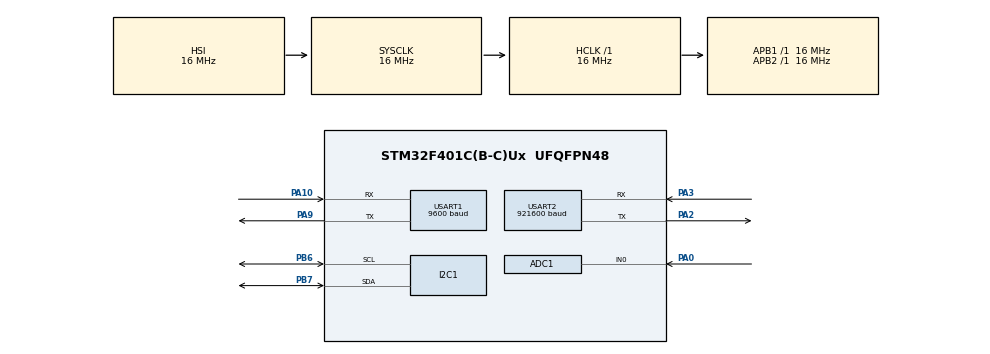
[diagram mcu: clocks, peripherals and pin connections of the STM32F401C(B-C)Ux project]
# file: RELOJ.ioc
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ADC1.Channel-4\#ChannelRegularConversion=ADC_CHANNEL_0
ADC1.DMAContinuousRequests=ENABLE
ADC1.ExternalTrigConv=ADC_EXTERNALTRIGCONV_T3_TRGO
ADC1.NbrOfConversionFlag=1
ADC1.Rank-4\#ChannelRegularConversion=1
ADC1.SamplingTime-4\#ChannelRegularConversion=ADC_SAMPLETIME_84CYCLES
ADC1.master=1
Dma.ADC1.0.Direction=DMA_PERIPH_TO_MEMORY
Dma.ADC1.0.FIFOMode=DMA_FIFOMODE_DISABLE
Dma.ADC1.0.Instance=DMA2_Stream0
Dma.ADC1.0.MemDataAlignment=DMA_MDATAALIGN_HALFWORD
Dma.ADC1.0.MemInc=DMA_MINC_ENABLE
Dma.ADC1.0.Mode=DMA_CIRCULAR
Dma.ADC1.0.PeriphDataAlignment=DMA_PDATAALIGN_HALFWORD
Dma.ADC1.0.PeriphInc=DMA_PINC_DISABLE
Dma.ADC1.0.Priority=DMA_PRIORITY_LOW
Dma.Request0=ADC1
Dma.Request1=USART2_TX
Dma.USART2_TX.1.Direction=DMA_MEMORY_TO_PERIPH
Dma.USART2_TX.1.FIFOMode=DMA_FIFOMODE_DISABLE
Dma.USART2_TX.1.Instance=DMA1_Stream6
Dma.USART2_TX.1.MemDataAlignment=DMA_MDATAALIGN_BYTE
Dma.USART2_TX.1.MemInc=DMA_MINC_ENABLE
Dma.USART2_TX.1.Mode=DMA_NORMAL
Dma.USART2_TX.1.PeriphDataAlignment=DMA_PDATAALIGN_BYTE
Dma.USART2_TX.1.PeriphInc=DMA_PINC_DISABLE
Dma.USART2_TX.1.Priority=DMA_PRIORITY_LOW
Mcu.Family=STM32F4
Mcu.Name=STM32F401C(B-C)Ux
Mcu.Package=UFQFPN48
NVIC.DMA1_Stream6_IRQn=true\:0\:0\:false\:false\:true\:false\:true\:true
NVIC.DMA2_Stream0_IRQn=true\:0\:0\:false\:false\:true\:false\:true\:true
NVIC.PriorityGroup=NVIC_PRIORITYGROUP_4
NVIC.TIM3_IRQn=true\:0\:0\:false\:false\:true\:true\:true\:true
PA0-WKUP.Signal=ADCx_IN0
PA10.Mode=Asynchronous
PA10.Signal=USART1_RX
PA2.Mode=Asynchronous
PA2.Signal=USART2_TX
PA3.Mode=Asynchronous
PA3.Signal=USART2_RX
PA9.Mode=Asynchronous
PA9.Signal=USART1_TX
PB6.Mode=I2C
PB6.Signal=I2C1_SCL
PB7.Mode=I2C
PB7.Signal=I2C1_SDA
ProjectManager.HeapSize=0x200
ProjectManager.StackSize=0x400
ProjectManager.TargetToolchain=CMake
RCC.AHBFreq_Value=16000000
RCC.APB1Freq_Value=16000000
RCC.APB2Freq_Value=16000000
RCC.CortexFreq_Value=16000000
RCC.HSE_VALUE=25000000
RCC.HSI_VALUE=16000000
RCC.LSE_VALUE=32768
RCC.SYSCLKFreq_VALUE=16000000
RCC.VCOOutputFreq_Value=192000000
SH.ADCx_IN0.0=ADC1_IN0,IN0
TIM3.Period=99
TIM3.Prescaler=15
TIM3.TIM_MasterOutputTrigger=TIM_TRGO_UPDATE
USART1.BaudRate=9600
USART1.VirtualMode=VM_ASYNC
USART2.BaudRate=921600
USART2.VirtualMode=VM_ASYNC
VP_TIM3_VS_ClockSourceINT.Mode=Internal
board=custom

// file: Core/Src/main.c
/* USER CODE BEGIN Header */
/**
  ******************************************************************************
  * @file           : main.c
  * @brief          : Main program body
  ******************************************************************************
  * @attention
  *
  * Copyright (c) 2026 STMicroelectronics.
  * All rights reserved.
  *
  * This software is licensed under terms that can be found in the LICENSE file
  * in the root directory of this software component.
  * If no LICENSE file comes with this software, it is provided AS-IS.
  *
  ******************************************************************************
  */
/* USER CODE END Header */
#include "main.h"

/* USER CODE BEGIN Includes */

#include "stdio.h"
#include "string.h"
#include "stdlib.h"
#include "math.h"
#include "uart.h"
#include "MPU6050.h"
#include "dsp_effects.h"

/* USER CODE END Includes */

/* USER CODE BEGIN PD */
#define STREAM_PACKET_SIZE 529U
#define STREAM_ADC_OFFSET 5U
#define STREAM_SENSOR_OFFSET 517U
#define STREAM_CRC_OFFSET 527U

/* USER CODE END PD */

ADC_HandleTypeDef hadc1;
DMA_HandleTypeDef hdma_adc1;

I2C_HandleTypeDef hi2c1;

TIM_HandleTypeDef htim3;

UART_HandleTypeDef huart1;
UART_HandleTypeDef huart2;
DMA_HandleTypeDef hdma_usart2_tx;

/* USER CODE BEGIN PV */
// Buffer circular de 512 muestras de guitarra para DMA (256 mitad 1 + 256 mitad 2)
uint16_t adc_buf[512];
static uint8_t stream_packet[2][STREAM_PACKET_SIZE];
static uint16_t stream_sequence = 0;
volatile uint32_t adc_half_events = 0;
volatile uint32_t adc_full_events = 0;
volatile uint32_t uart2_dma_start_errors = 0;

// Inclinación medida con la MPU6050 (grados)
float inclinacion_roll;   // Inclinación lateral (eje X)
float inclinacion_pitch;  // Inclinación frontal (eje Y)

// 1 si la MPU6050 respondió y quedó inicializada
uint8_t mpu_ok = 0;
// Dirección I2C detectada (0x68 si AD0 = GND, 0x69 si AD0 = VCC); 0 = no encontrada
uint8_t mpu_addr = 0;
char buf[64];
uint8_t rx_cmd_byte = 0;

/* USER CODE END PV */

void SystemClock_Config(void);
static void MX_GPIO_Init(void);
static void MX_DMA_Init(void);
static void MX_USART1_UART_Init(void);
static void MX_ADC1_Init(void);
static void MX_I2C1_Init(void);
static void MX_TIM3_Init(void);
static void MX_USART2_UART_Init(void);

static uint8_t last_scanned_addr = 0;
static uint16_t last_i2c_status = 0;

static void MPU6050_ResetBus(void)
{
  __HAL_RCC_I2C1_FORCE_RESET();
  for (volatile int d = 0; d < 1000; d++);
  __HAL_RCC_I2C1_RELEASE_RESET();

  // Configurar PB6 (SCL) como salida OD con pullup y PB7 (SDA) como entrada con pullup
  GPIO_InitTypeDef GPIO_InitStruct = {0};
  GPIO_InitStruct.Pin = GPIO_PIN_6;
  GPIO_InitStruct.Mode = GPIO_MODE_OUTPUT_OD;
  GPIO_InitStruct.Pull = GPIO_PULLUP;
  GPIO_InitStruct.Speed = GPIO_SPEED_FREQ_HIGH;
  HAL_GPIO_Init(GPIOB, &GPIO_InitStruct);

  GPIO_InitStruct.Pin = GPIO_PIN_7;
  GPIO_InitStruct.Mode = GPIO_MODE_INPUT;
  GPIO_InitStruct.Pull = GPIO_PULLUP;
  HAL_GPIO_Init(GPIOB, &GPIO_InitStruct);

  // Generar 16 pulsos en SCL para destrabar el sensor si quedó colgado enviando un bit 0
  for (int i = 0; i < 16; i++) {
    HAL_GPIO_WritePin(GPIOB, GPIO_PIN_6, GPIO_PIN_RESET);
    for (volatile int d = 0; d < 500; d++);
    HAL_GPIO_WritePin(GPIOB, GPIO_PIN_6, GPIO_PIN_SET);
    for (volatile int d = 0; d < 500; d++);
  }

  // Restaurar pines a modo alterno I2C1
  GPIO_InitStruct.Pin = GPIO_PIN_6 | GPIO_PIN_7;
  GPIO_InitStruct.Mode = GPIO_MODE_AF_OD;
  GPIO_InitStruct.Pull = GPIO_PULLUP;
  GPIO_InitStruct.Speed = GPIO_SPEED_FREQ_VERY_HIGH;
  GPIO_InitStruct.Alternate = GPIO_AF4_I2C1;
  HAL_GPIO_Init(GPIOB, &GPIO_InitStruct);

  HAL_I2C_Init(&hi2c1);
}

// Busca la MPU6050 en el bus I2C (0x68 o 0x69). Devuelve la dirección de 7 bits o 0.
static uint8_t MPU6050_Buscar(void)
{
  HAL_StatusTypeDef st = HAL_I2C_IsDeviceReady(&hi2c1, 0x68 << 1, 1, 2);
  last_i2c_status = (uint16_t)st;
  if (st == HAL_OK) return 0x68;

  st = HAL_I2C_IsDeviceReady(&hi2c1, 0x69 << 1, 1, 2);
  last_i2c_status = (uint16_t)st;
  if (st == HAL_OK) return 0x69;

  return 0;
}

static void Stream_PutInt16(uint8_t *dest, float value, float scale)
{
  int32_t scaled = 0;
  if (isfinite(value)) {
    float scaled_value = value * scale;
    if (scaled_value > 32767.0f) scaled_value = 32767.0f;
    if (scaled_value < -32768.0f) scaled_value = -32768.0f;
    scaled = (int32_t)lroundf(scaled_value);
  }

  dest[0] = (uint8_t)(scaled & 0xFF);
  dest[1] = (uint8_t)((uint32_t)scaled >> 8);
}

static uint16_t Stream_Crc16(const uint8_t *data, uint16_t length)
{
  uint16_t crc = 0xFFFFU;
  for (uint16_t i = 0; i < length; i++) {
    crc ^= (uint16_t)data[i] << 8;
    for (uint8_t bit = 0; bit < 8; bit++) {
      crc = (crc & 0x8000U) ? (uint16_t)((crc << 1) ^ 0x1021U)
                            : (uint16_t)(crc << 1);
    }
  }
  return crc;
}

static void Stream_PreparePacket(uint8_t *packet, const uint16_t *samples)
{
  packet[0] = 0xA5U;
  packet[1] = 0x5AU;
  packet[2] = (uint8_t)(stream_sequence & 0xFFU);
  packet[3] = (uint8_t)(stream_sequence >> 8);
  stream_sequence++;
  // Byte 4: Bit 0 = MPU OK, Bits 4..7 = Efecto activo (0: Clean, 1: Overdrive, 2: Distortion, 3: Tremolo)
  packet[4] = (mpu_ok ? 1U : 0U) | ((uint8_t)(dsp_engine.active_effect & 0x0FU) << 4);
  memcpy(&packet[STREAM_ADC_OFFSET], samples, 512U);

  if (mpu_ok) {
    Stream_PutInt16(&packet[STREAM_SENSOR_OFFSET], inclinacion_roll, 100.0f);
    Stream_PutInt16(&packet[STREAM_SENSOR_OFFSET + 2U], inclinacion_pitch, 100.0f);
    Stream_PutInt16(&packet[STREAM_SENSOR_OFFSET + 4U], MPU6050.ace_x_f, 1000.0f);
    Stream_PutInt16(&packet[STREAM_SENSOR_OFFSET + 6U], MPU6050.ace_y_f, 1000.0f);
    Stream_PutInt16(&packet[STREAM_SENSOR_OFFSET + 8U], MPU6050.ace_z_f, 1000.0f);
  } else {
    packet[STREAM_SENSOR_OFFSET]     = (uint8_t)(last_i2c_status & 0xFF);
    packet[STREAM_SENSOR_OFFSET + 1] = (uint8_t)(last_i2c_status >> 8);
    packet[STREAM_SENSOR_OFFSET + 2] = (uint8_t)(hi2c1.ErrorCode & 0xFF);
    packet[STREAM_SENSOR_OFFSET + 3] = (uint8_t)(hi2c1.ErrorCode >> 8);
    packet[STREAM_SENSOR_OFFSET + 4] = (uint8_t)hi2c1.State;
    packet[STREAM_SENSOR_OFFSET + 5] = (uint8_t)last_scanned_addr;
    packet[STREAM_SENSOR_OFFSET + 6] = (uint8_t)((GPIOB->IDR >> 6) & 0x03);
    packet[STREAM_SENSOR_OFFSET + 7] = 0;
    packet[STREAM_SENSOR_OFFSET + 8] = 0;
    packet[STREAM_SENSOR_OFFSET + 9] = 0;
  }

  uint16_t crc = Stream_Crc16(&packet[2], STREAM_CRC_OFFSET - 2U);
  packet[STREAM_CRC_OFFSET] = (uint8_t)(crc & 0xFFU);
  packet[STREAM_CRC_OFFSET + 1U] = (uint8_t)(crc >> 8);
}

/* USER CODE END 0 */

int main(void)
{

  /* MCU Configuration--------------------------------------------------------*/

  /* Reset of all peripherals, Initializes the Flash interface and the Systick. */
  HAL_Init();

  /* Configure the system clock */
  SystemClock_Config();

  /* Initialize all configured peripherals */
  MX_GPIO_Init();
  MX_DMA_Init();
  MX_USART1_UART_Init();
  MX_ADC1_Init();
  MX_I2C1_Init();
  MX_TIM3_Init();
  MX_USART2_UART_Init();
  /* USER CODE BEGIN 2 */
  char buffer[128];
  uint32_t ultimo_diag = HAL_GetTick();

  // La MPU6050 necesita ~100 ms tras energizarse antes de aceptar comandos
  HAL_Delay(100);

  // Diagnóstico: ¿responde algo en el bus I2C?
  mpu_addr = MPU6050_Buscar();
  if (mpu_addr == 0) {
    MPU6050_ResetBus();
    mpu_addr = MPU6050_Buscar();
  }
  if (mpu_addr == 0) {
    uartx_write_text(&huart1, "ERROR: MPU6050 no responde en I2C (0x68/0x69). Revisar SDA/SCL, VCC, GND y pull-ups.\r\n");
  } else {
    sprintf(buffer, "MPU6050 detectada en 0x%02X\r\n", mpu_addr);
    uartx_write_text(&huart1, buffer);
  }

  // Inicializar MPU6050
  if (mpu_addr != 0 && MPU6050_init() == 1) {
    MPU6050_Calibra();            // Calibración inicial en reposo (no mover el sensor)
    Kalman_Init(&kalman_roll_);   // Inicializar filtro de Roll
    Kalman_Init(&kalman_pitch_);  // Inicializar filtro de Pitch
    mpu_ok = 1;
  } else {
    uartx_write_text(&huart1, "ERROR: MPU6050_init() fallo. Roll/Pitch se mostraran en 0.\r\n");
  }

  // Inicializar motor DSP de efectos
  DSP_Init();

  // Habilitar recepcion no bloqueante por interrupcion en UART2 para comandos Wi-Fi
  HAL_UART_Receive_IT(&huart2, &rx_cmd_byte, 1);

  // Armar el ADC y DMA antes de habilitar el disparo periódico de TIM3.
  if (HAL_ADC_Start_DMA(&hadc1, (uint32_t*)adc_buf, 512) != HAL_OK) {
    uartx_write_text(&huart1, "ERROR: no se pudo iniciar ADC1 con DMA.\r\n");
  } else if (HAL_TIM_Base_Start(&htim3) != HAL_OK) {
    uartx_write_text(&huart1, "ERROR: no se pudo iniciar TIM3 para el ADC.\r\n");
  }
  /* USER CODE END 2 */

  /* Infinite loop */
  /* USER CODE BEGIN WHILE */
  while (1)
  {
    if (mpu_ok) {
      TIMER_PROCEDIMIENTOS(); // Lee registros I2C y calcula inclinación

      // Si el filtro se corrompe (NaN/inf), se reinicia en vez de arrastrar el NaN para siempre
      if (!isfinite(kalman_roll) || !isfinite(kalman_pitch)) {
        Kalman_Init(&kalman_roll_);
        Kalman_Init(&kalman_pitch_);
      }

      // Toma el ángulo filtrado si es válido; si no, el directo del acelerómetro
      inclinacion_roll  = isfinite(kalman_roll)  ? kalman_roll  : acel_roll;
      inclinacion_pitch = isfinite(kalman_pitch) ? kalman_pitch : acel_pitch;

      if (!isfinite(inclinacion_roll))  inclinacion_roll  = 0.0f;
      if (!isfinite(inclinacion_pitch)) inclinacion_pitch = 0.0f;

      // Modula los parámetros del efecto activo según la inclinación de la guitarra
      DSP_UpdateFromMPU(inclinacion_roll, inclinacion_pitch);
    } else {
      inclinacion_roll  = 0.0f;
      inclinacion_pitch = 0.0f;
      DSP_UpdateFromMPU(0.0f, 0.0f);

      // Reintento automático para detectar la MPU si se energizó o conectó después
      static uint32_t ultimo_mpu_retry = 0;
      if (HAL_GetTick() - ultimo_mpu_retry >= 1000) {
        ultimo_mpu_retry = HAL_GetTick();
        MPU6050_ResetBus();
        mpu_addr = MPU6050_Buscar();
        if (mpu_addr != 0 && MPU6050_init() == 1) {
          MPU6050_Calibra();
          Kalman_Init(&kalman_roll_);
          Kalman_Init(&kalman_pitch_);
          mpu_ok = 1;
        }
      }
    }

    // Lectura DIRECTA por registros hardware de USART2
    if (__HAL_UART_GET_FLAG(&huart2, UART_FLAG_RXNE)) {
      uint8_t c = (uint8_t)(USART2->DR & 0xFF);
      if (c == 'C' || c == '0') DSP_SetEffect(EFFECT_CLEAN);
      else if (c == 'O' || c == '1') DSP_SetEffect(EFFECT_OVERDRIVE);
      else if (c == 'D' || c == '2') DSP_SetEffect(EFFECT_DISTORTION);
      else if (c == 'T' || c == '3') DSP_SetEffect(EFFECT_TREMOLO);
    }
    if (__HAL_UART_GET_FLAG(&huart2, UART_FLAG_ORE)) {
      __HAL_UART_CLEAR_OREFLAG(&huart2);
    }

    // Fila de estado para la consola (solo 1 vez por segundo en diagnostico para no frenar la CPU)
    if (HAL_GetTick() - ultimo_diag >= 1000) {
      int len = snprintf(buffer, sizeof(buffer),
          "ADC H:%lu F:%lu TXerr:%lu U2:%u\r\n",
          (unsigned long)adc_half_events,
          (unsigned long)adc_full_events,
          (unsigned long)uart2_dma_start_errors,
          (unsigned int)HAL_UART_GetState(&huart2));
      HAL_UART_Transmit(&huart1, (uint8_t *)buffer, len, HAL_MAX_DELAY);
      ultimo_diag = HAL_GetTick();
    }

    HAL_Delay(10); // 100 Hz de refresco para el MPU-6050 (reacción instantánea en tiempo real)

    /* USER CODE END WHILE */

  }
}

void SystemClock_Config(void)
{
  RCC_OscInitTypeDef RCC_OscInitStruct = {0};
  RCC_ClkInitTypeDef RCC_ClkInitStruct = {0};

  /** Configure the main internal regulator output voltage
  */
  __HAL_RCC_PWR_CLK_ENABLE();
  __HAL_PWR_VOLTAGESCALING_CONFIG(PWR_REGULATOR_VOLTAGE_SCALE2);

  /** Initializes the RCC Oscillators according to the specified parameters
  * in the RCC_OscInitTypeDef structure.
  */
  RCC_OscInitStruct.OscillatorType = RCC_OSCILLATORTYPE_HSI;
  RCC_OscInitStruct.HSIState = RCC_HSI_ON;
  RCC_OscInitStruct.HSICalibrationValue = RCC_HSICALIBRATION_DEFAULT;
  RCC_OscInitStruct.PLL.PLLState = RCC_PLL_NONE;
  if (HAL_RCC_OscConfig(&RCC_OscInitStruct) != HAL_OK)
  {
    Error_Handler();
  }

  /** Initializes the CPU, AHB and APB buses clocks
  */
  RCC_ClkInitStruct.ClockType = RCC_CLOCKTYPE_HCLK|RCC_CLOCKTYPE_SYSCLK
                              |RCC_CLOCKTYPE_PCLK1|RCC_CLOCKTYPE_PCLK2;
  RCC_ClkInitStruct.SYSCLKSource = RCC_SYSCLKSOURCE_HSI;
  RCC_ClkInitStruct.AHBCLKDivider = RCC_SYSCLK_DIV1;
  RCC_ClkInitStruct.APB1CLKDivider = RCC_HCLK_DIV1;
  RCC_ClkInitStruct.APB2CLKDivider = RCC_HCLK_DIV1;

  if (HAL_RCC_ClockConfig(&RCC_ClkInitStruct, FLASH_LATENCY_0) != HAL_OK)
  {
    Error_Handler();
  }
}

static void MX_ADC1_Init(void)
{

  ADC_ChannelConfTypeDef sConfig = {0};

  /** Configure the global features of the ADC (Clock, Resolution, Data Alignment and number of conversion)
  */
  hadc1.Instance = ADC1;
  hadc1.Init.ClockPrescaler = ADC_CLOCK_SYNC_PCLK_DIV2;
  hadc1.Init.Resolution = ADC_RESOLUTION_12B;
  hadc1.Init.ScanConvMode = DISABLE;
  hadc1.Init.ContinuousConvMode = DISABLE;
  hadc1.Init.DiscontinuousConvMode = DISABLE;
  hadc1.Init.ExternalTrigConvEdge = ADC_EXTERNALTRIGCONVEDGE_RISING;
  hadc1.Init.ExternalTrigConv = ADC_EXTERNALTRIGCONV_T3_TRGO;
  hadc1.Init.DataAlign = ADC_DATAALIGN_RIGHT;
  hadc1.Init.NbrOfConversion = 1;
  hadc1.Init.DMAContinuousRequests = ENABLE;
  hadc1.Init.EOCSelection = ADC_EOC_SINGLE_CONV;
  if (HAL_ADC_Init(&hadc1) != HAL_OK)
  {
    Error_Handler();
  }

  /** Configure for the selected ADC regular channel its corresponding rank in the sequencer and its sample time.
  */
  sConfig.Channel = ADC_CHANNEL_0;
  sConfig.Rank = 1;
  sConfig.SamplingTime = ADC_SAMPLETIME_84CYCLES;
  if (HAL_ADC_ConfigChannel(&hadc1, &sConfig) != HAL_OK)
  {
    Error_Handler();
  }

}

static void MX_I2C1_Init(void)
{

  hi2c1.Instance = I2C1;
  hi2c1.Init.ClockSpeed = 100000;
  hi2c1.Init.DutyCycle = I2C_DUTYCYCLE_2;
  hi2c1.Init.OwnAddress1 = 0;
  hi2c1.Init.AddressingMode = I2C_ADDRESSINGMODE_7BIT;
  hi2c1.Init.DualAddressMode = I2C_DUALADDRESS_DISABLE;
  hi2c1.Init.OwnAddress2 = 0;
  hi2c1.Init.GeneralCallMode = I2C_GENERALCALL_DISABLE;
  hi2c1.Init.NoStretchMode = I2C_NOSTRETCH_DISABLE;
  if (HAL_I2C_Init(&hi2c1) != HAL_OK)
  {
    Error_Handler();
  }

}

static void MX_TIM3_Init(void)
{

  TIM_ClockConfigTypeDef sClockSourceConfig = {0};
  TIM_MasterConfigTypeDef sMasterConfig = {0};

  htim3.Instance = TIM3;
  htim3.Init.Prescaler = 15;
  htim3.Init.CounterMode = TIM_COUNTERMODE_UP;
  htim3.Init.Period = 99;
  htim3.Init.ClockDivision = TIM_CLOCKDIVISION_DIV1;
  htim3.Init.AutoReloadPreload = TIM_AUTORELOAD_PRELOAD_DISABLE;
  if (HAL_TIM_Base_Init(&htim3) != HAL_OK)
  {
    Error_Handler();
  }
  sClockSourceConfig.ClockSource = TIM_CLOCKSOURCE_INTERNAL;
  if (HAL_TIM_ConfigClockSource(&htim3, &sClockSourceConfig) != HAL_OK)
  {
    Error_Handler();
  }
  sMasterConfig.MasterOutputTrigger = TIM_TRGO_UPDATE;
  sMasterConfig.MasterSlaveMode = TIM_MASTERSLAVEMODE_DISABLE;
  if (HAL_TIMEx_MasterConfigSynchronization(&htim3, &sMasterConfig) != HAL_OK)
  {
    Error_Handler();
  }

}

static void MX_USART1_UART_Init(void)
{

  huart1.Instance = USART1;
  huart1.Init.BaudRate = 9600;
  huart1.Init.WordLength = UART_WORDLENGTH_8B;
  huart1.Init.StopBits = UART_STOPBITS_1;
  huart1.Init.Parity = UART_PARITY_NONE;
  huart1.Init.Mode = UART_MODE_TX_RX;
  huart1.Init.HwFlowCtl = UART_HWCONTROL_NONE;
  huart1.Init.OverSampling = UART_OVERSAMPLING_16;
  if (HAL_UART_Init(&huart1) != HAL_OK)
  {
    Error_Handler();
  }

}

static void MX_USART2_UART_Init(void)
{

  huart2.Instance = USART2;
  huart2.Init.BaudRate = 460800;
  huart2.Init.WordLength = UART_WORDLENGTH_8B;
  huart2.Init.StopBits = UART_STOPBITS_1;
  huart2.Init.Parity = UART_PARITY_NONE;
  huart2.Init.Mode = UART_MODE_TX_RX;
  huart2.Init.HwFlowCtl = UART_HWCONTROL_NONE;
  huart2.Init.OverSampling = UART_OVERSAMPLING_16;
  if (HAL_UART_Init(&huart2) != HAL_OK)
  {
    Error_Handler();
  }

}

static void MX_DMA_Init(void)
{

  /* DMA controller clock enable */
  __HAL_RCC_DMA2_CLK_ENABLE();
  __HAL_RCC_DMA1_CLK_ENABLE();

  /* DMA interrupt init */
  /* DMA1_Stream6_IRQn interrupt configuration */
  HAL_NVIC_SetPriority(DMA1_Stream6_IRQn, 0, 0);
  HAL_NVIC_EnableIRQ(DMA1_Stream6_IRQn);
  /* DMA2_Stream0_IRQn interrupt configuration */
  HAL_NVIC_SetPriority(DMA2_Stream0_IRQn, 0, 0);
  HAL_NVIC_EnableIRQ(DMA2_Stream0_IRQn);

}

static void MX_GPIO_Init(void)
{

  /* GPIO Ports Clock Enable */
  __HAL_RCC_GPIOA_CLK_ENABLE();
  __HAL_RCC_GPIOB_CLK_ENABLE();

}

/* USER CODE BEGIN 4 */
// Callbacks para streaming continuo de guitarra por DMA a USART2
// Se transmite 1 de cada 4 paquetes (~10 paquetes/segundo) para que el módulo Wi-Fi DT-06
// no sature su buffer TCP y la señal llegue 100% fluida y estable.
static uint8_t wifi_decimate = 0;
static uint16_t dsp_out_buf[256];

void HAL_ADC_ConvHalfCpltCallback(ADC_HandleTypeDef *hadc)
{
  if (hadc->Instance == ADC1)
  {
    adc_half_events++;
    wifi_decimate++;
    if (wifi_decimate >= 4)
    {
      wifi_decimate = 0;
      // Aplica el efecto DSP en tiempo real sobre las 256 muestras
      DSP_ProcessBlock(&adc_buf[0], dsp_out_buf, 256);
      Stream_PreparePacket(stream_packet[0], dsp_out_buf);
      if (HAL_UART_Transmit_DMA(&huart2, stream_packet[0], STREAM_PACKET_SIZE) != HAL_OK) {
        uart2_dma_start_errors++;
      }
    }
  }
}

void HAL_ADC_ConvCpltCallback(ADC_HandleTypeDef *hadc)
{
  if (hadc->Instance == ADC1)
  {
    adc_full_events++;
  }
}

// Callback de interrupción de UART2: se ejecuta al instante cuando llega un comando Wi-Fi
void HAL_UART_RxCpltCallback(UART_HandleTypeDef *huart)
{
  if (huart->Instance == USART2)
  {
    if (rx_cmd_byte == 'C' || rx_cmd_byte == '0') DSP_SetEffect(EFFECT_CLEAN);
    else if (rx_cmd_byte == 'O' || rx_cmd_byte == '1') DSP_SetEffect(EFFECT_OVERDRIVE);
    else if (rx_cmd_byte == 'D' || rx_cmd_byte == '2') DSP_SetEffect(EFFECT_DISTORTION);
    else if (rx_cmd_byte == 'T' || rx_cmd_byte == '3') DSP_SetEffect(EFFECT_TREMOLO);

    // Re-armar para el siguiente byte
    HAL_UART_Receive_IT(&huart2, &rx_cmd_byte, 1);
  }
}

// Recuperar el receptor si ocurre un error de Overrun (ORE) o ruido
void HAL_UART_ErrorCallback(UART_HandleTypeDef *huart)
{
  if (huart->Instance == USART2)
  {
    __HAL_UART_CLEAR_OREFLAG(huart);
    __HAL_UART_CLEAR_NEFLAG(huart);
    __HAL_UART_CLEAR_FEFLAG(huart);
    HAL_UART_Receive_IT(&huart2, &rx_cmd_byte, 1);
  }
}
/* USER CODE END 4 */

void Error_Handler(void)
{
  __disable_irq();
  while (1)
  {
  }
}
